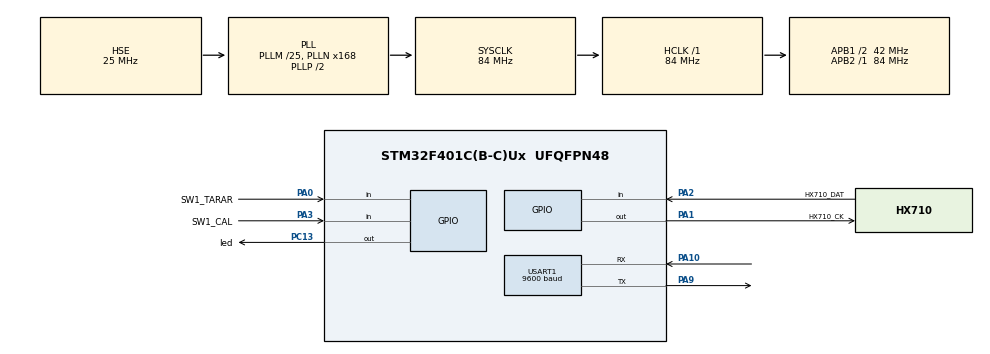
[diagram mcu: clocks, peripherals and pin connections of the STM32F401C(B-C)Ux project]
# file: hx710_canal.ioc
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Mcu.Family=STM32F4
Mcu.Name=STM32F401C(B-C)Ux
Mcu.Package=UFQFPN48
NVIC.PriorityGroup=NVIC_PRIORITYGROUP_4
PA0-WKUP.GPIO_Label=SW1_TARAR
PA0-WKUP.GPIO_PuPd=GPIO_PULLUP
PA0-WKUP.Signal=GPIO_Input
PA1.GPIO_Label=HX710_CK
PA1.Signal=GPIO_Output
PA10.Mode=Asynchronous
PA10.Signal=USART1_RX
PA2.GPIO_Label=HX710_DAT
PA2.GPIO_PuPd=GPIO_PULLUP
PA2.Signal=GPIO_Input
PA3.GPIO_Label=SW1_CAL
PA3.GPIO_PuPd=GPIO_PULLUP
PA3.Signal=GPIO_Input
PA9.Mode=Asynchronous
PA9.Signal=USART1_TX
PC13-ANTI_TAMP.GPIO_Label=led
PC13-ANTI_TAMP.Signal=GPIO_Output
PH0\ -\ OSC_IN.Mode=HSE-External-Oscillator
PH0\ -\ OSC_IN.Signal=RCC_OSC_IN
PH1\ -\ OSC_OUT.Mode=HSE-External-Oscillator
PH1\ -\ OSC_OUT.Signal=RCC_OSC_OUT
ProjectManager.HeapSize=0x200
ProjectManager.StackSize=0x400
ProjectManager.TargetToolchain=STM32CubeIDE
RCC.48MHZClocksFreq_Value=42000000
RCC.AHBFreq_Value=84000000
RCC.APB1CLKDivider=RCC_HCLK_DIV2
RCC.APB1Freq_Value=42000000
RCC.APB1TimFreq_Value=84000000
RCC.APB2Freq_Value=84000000
RCC.APB2TimFreq_Value=84000000
RCC.CortexFreq_Value=84000000
RCC.HCLKFreq_Value=84000000
RCC.HSE_VALUE=25000000
RCC.HSI_VALUE=16000000
RCC.LSE_VALUE=32768
RCC.PLLM=25
RCC.PLLN=168
RCC.PLLSourceVirtual=RCC_PLLSOURCE_HSE
RCC.SYSCLKFreq_VALUE=84000000
RCC.SYSCLKSource=RCC_SYSCLKSOURCE_PLLCLK
RCC.VCOOutputFreq_Value=168000000
USART1.BaudRate=9600
USART1.VirtualMode=VM_ASYNC
board=custom

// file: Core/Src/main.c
/* USER CODE BEGIN Header */
/**
  ******************************************************************************
  * @file           : main.c
  * @brief          : Main program body
  ******************************************************************************
  * @attention
  *
  * Copyright (c) 2025 STMicroelectronics.
  * All rights reserved.
  *
  * This software is licensed under terms that can be found in the LICENSE file
  * in the root directory of this software component.
  * If no LICENSE file comes with this software, it is provided AS-IS.
  *
  ******************************************************************************
  */
/* USER CODE END Header */
#include "main.h"

/* USER CODE BEGIN Includes */
#include "uart.h"
#include "HX710.h"
#include "pinout.h"

#include "stdlib.h"
#include "stdint.h"
#include "stdio.h"
#include "string.h"
/* USER CODE END Includes */

UART_HandleTypeDef huart1;

/* USER CODE BEGIN PV */
char texto[50];
/* USER CODE END PV */

void SystemClock_Config(void);
static void MX_GPIO_Init(void);
static void MX_USART1_UART_Init(void);

int main(void)
{

  /* MCU Configuration--------------------------------------------------------*/

  /* Reset of all peripherals, Initializes the Flash interface and the Systick. */
  HAL_Init();

  /* Configure the system clock */
  SystemClock_Config();

  /* Initialize all configured peripherals */
  MX_GPIO_Init();
  MX_USART1_UART_Init();
  /* USER CODE BEGIN 2 */
  uartx_write_text(&huart1, "Iniciando\r\n");
    HX710_init();  //inicia LA CELDA

    HX710_tarar(50,10);  //Tara el sistema automatico numero de datos, a que ganancia

    //si desea manda el offset incial
//    sprintf(texto,"Tarado offset=%.lu\r\n",offset_hx);
  //  uartx_write_text(&huart1, texto);

  /* USER CODE END 2 */

  /* Infinite loop */
  /* USER CODE BEGIN WHILE */
  while (1)
  {
	  presion_hx=HX710_promedio(10,10)-offset_hx; //10 muestras a 10HZ
	  	  presion_hx=presion_hx*factor_hx;
	  	     if (presion_hx<=0) presion_hx=0;
	  	     sprintf(texto,"Pres=%.1f\r\n",presion_hx);
	  	     uartx_write_text(&huart1, texto);

		     if(PIN_READ(SW1_TARAR)==0)
		    {
		         HAL_GPIO_WritePin(led_GPIO_Port, led_Pin, 0);//PRENDE EL LED
		         uartx_write_text(&huart1, "TARANDO\r\n");
		         HAL_Delay(300);
	              HX710_tarar(50,10);
	              //OPCIONAL PARA SABER EL DATO DEL TARADO
		         sprintf(texto,"Tarado offset=%.lu\r\n",offset_hx);
		     	  uartx_write_text(&huart1, texto);
		        }

		     if(PIN_READ(SW1_CAL)==0)
		      {
		  	  	HAL_GPIO_WritePin(led_GPIO_Port, led_Pin, 0);
		  	  uartx_write_text(&huart1, "CALIBRANDO\r\n");

		  	  	HAL_Delay(2000);
		  		cal_hx=HX710_promedio(50,10)-offset_hx;//promedia 50 datos a 10 hz
		  	  	factor_hx= prueba_hx/cal_hx;
		  	  }
    /* USER CODE END WHILE */

  }
}

void SystemClock_Config(void)
{
  RCC_OscInitTypeDef RCC_OscInitStruct = {0};
  RCC_ClkInitTypeDef RCC_ClkInitStruct = {0};

  /** Configure the main internal regulator output voltage
  */
  __HAL_RCC_PWR_CLK_ENABLE();
  __HAL_PWR_VOLTAGESCALING_CONFIG(PWR_REGULATOR_VOLTAGE_SCALE2);

  /** Initializes the RCC Oscillators according to the specified parameters
  * in the RCC_OscInitTypeDef structure.
  */
  RCC_OscInitStruct.OscillatorType = RCC_OSCILLATORTYPE_HSE;
  RCC_OscInitStruct.HSEState = RCC_HSE_ON;
  RCC_OscInitStruct.PLL.PLLState = RCC_PLL_ON;
  RCC_OscInitStruct.PLL.PLLSource = RCC_PLLSOURCE_HSE;
  RCC_OscInitStruct.PLL.PLLM = 25;
  RCC_OscInitStruct.PLL.PLLN = 168;
  RCC_OscInitStruct.PLL.PLLP = RCC_PLLP_DIV2;
  RCC_OscInitStruct.PLL.PLLQ = 4;
  if (HAL_RCC_OscConfig(&RCC_OscInitStruct) != HAL_OK)
  {
    Error_Handler();
  }

  /** Initializes the CPU, AHB and APB buses clocks
  */
  RCC_ClkInitStruct.ClockType = RCC_CLOCKTYPE_HCLK|RCC_CLOCKTYPE_SYSCLK
                              |RCC_CLOCKTYPE_PCLK1|RCC_CLOCKTYPE_PCLK2;
  RCC_ClkInitStruct.SYSCLKSource = RCC_SYSCLKSOURCE_PLLCLK;
  RCC_ClkInitStruct.AHBCLKDivider = RCC_SYSCLK_DIV1;
  RCC_ClkInitStruct.APB1CLKDivider = RCC_HCLK_DIV2;
  RCC_ClkInitStruct.APB2CLKDivider = RCC_HCLK_DIV1;

  if (HAL_RCC_ClockConfig(&RCC_ClkInitStruct, FLASH_LATENCY_2) != HAL_OK)
  {
    Error_Handler();
  }
}

static void MX_USART1_UART_Init(void)
{

  huart1.Instance = USART1;
  huart1.Init.BaudRate = 9600;
  huart1.Init.WordLength = UART_WORDLENGTH_8B;
  huart1.Init.StopBits = UART_STOPBITS_1;
  huart1.Init.Parity = UART_PARITY_NONE;
  huart1.Init.Mode = UART_MODE_TX_RX;
  huart1.Init.HwFlowCtl = UART_HWCONTROL_NONE;
  huart1.Init.OverSampling = UART_OVERSAMPLING_16;
  if (HAL_UART_Init(&huart1) != HAL_OK)
  {
    Error_Handler();
  }

}

static void MX_GPIO_Init(void)
{
  GPIO_InitTypeDef GPIO_InitStruct = {0};

  /* GPIO Ports Clock Enable */
  __HAL_RCC_GPIOC_CLK_ENABLE();
  __HAL_RCC_GPIOH_CLK_ENABLE();
  __HAL_RCC_GPIOA_CLK_ENABLE();

  /*Configure GPIO pin Output Level */
  HAL_GPIO_WritePin(led_GPIO_Port, led_Pin, GPIO_PIN_RESET);

  /*Configure GPIO pin Output Level */
  HAL_GPIO_WritePin(HX710_CK_GPIO_Port, HX710_CK_Pin, GPIO_PIN_RESET);

  /*Configure GPIO pin : led_Pin */
  GPIO_InitStruct.Pin = led_Pin;
  GPIO_InitStruct.Mode = GPIO_MODE_OUTPUT_PP;
  GPIO_InitStruct.Pull = GPIO_NOPULL;
  GPIO_InitStruct.Speed = GPIO_SPEED_FREQ_LOW;
  HAL_GPIO_Init(led_GPIO_Port, &GPIO_InitStruct);

  /*Configure GPIO pins : SW1_TARAR_Pin HX710_DAT_Pin SW1_CAL_Pin */
  GPIO_InitStruct.Pin = SW1_TARAR_Pin|HX710_DAT_Pin|SW1_CAL_Pin;
  GPIO_InitStruct.Mode = GPIO_MODE_INPUT;
  GPIO_InitStruct.Pull = GPIO_PULLUP;
  HAL_GPIO_Init(GPIOA, &GPIO_InitStruct);

  /*Configure GPIO pin : HX710_CK_Pin */
  GPIO_InitStruct.Pin = HX710_CK_Pin;
  GPIO_InitStruct.Mode = GPIO_MODE_OUTPUT_PP;
  GPIO_InitStruct.Pull = GPIO_NOPULL;
  GPIO_InitStruct.Speed = GPIO_SPEED_FREQ_LOW;
  HAL_GPIO_Init(HX710_CK_GPIO_Port, &GPIO_InitStruct);

}

void Error_Handler(void)
{
  __disable_irq();
  while (1)
  {
  }
}
